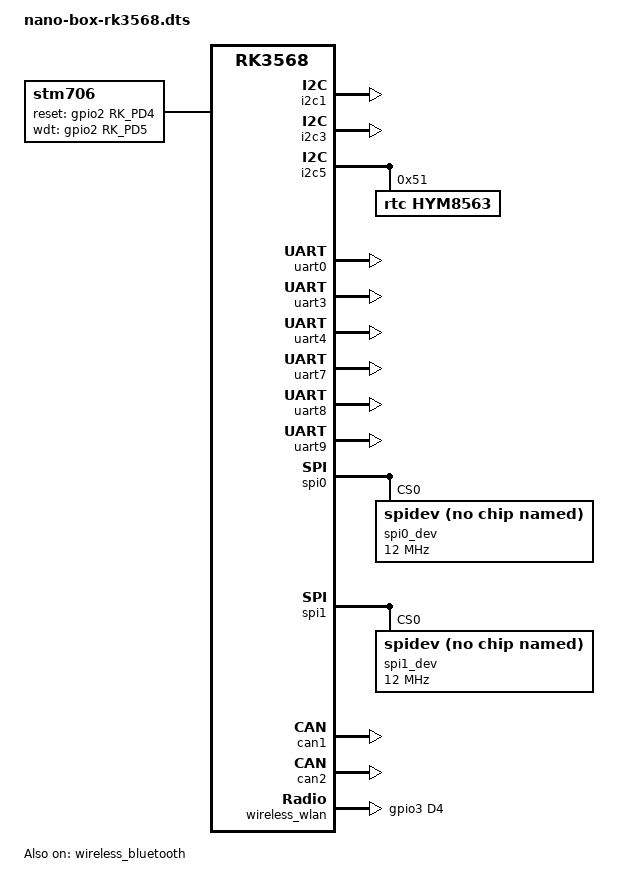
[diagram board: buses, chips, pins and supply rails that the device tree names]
// SPDX-License-Identifier: (GPL-2.0+ OR MIT)
/*
 * Copyright (c) 2020 Rockchip Electronics Co., Ltd.
 *
 */

/dts-v1/;

//rk3568-evb1-ddr4-v10
//#include "rk3568-evb1-ddr4-v10.dtsi"

#include "rk3568-evb-rpdzkj-rk809.dtsi"


#include "rk3568-linux.dtsi"

/*************************camera***********************/
//#include "rp-mipi-camera-gc2093-rk3568.dtsi"
#include "rp-mipi-camera-gc2093-imx334-imx415-rk3568.dtsi"
/***************************************************/


/*************************adc key***********************/
#include "rp-adc-key.dtsi"
/***************************************************/

/*************************gmac***********************/
#include "rp-gmac0-pro-rk3568.dtsi"
/***************************************************/

/*************************CAN**********************/
#include "rp-can1-m1-rk3568.dtsi"
#include "rp-can2-m0-rk3568.dtsi"
/**************************************************/

/***************** SINGLE LCD (LCD + HDMI) ****************/
#include "nano-box-rk3568-lcd-gpio.dtsi"	// if use lcd, must enable it
/* HDMI only */
//#include "rp-lcd-hdmi.dtsi"

/* MIPI DSI0 */
//#include "rp-lcd-mipi0-5-720-1280-v2-boxTP.dtsi"
#include "rp-lcd-mipi0-7-720-1280.dtsi"
//#include "rp-lcd-mipi0-8-800-1280-v3.dtsi"
//#include "rp-lcd-mipi0-8-1200-1920.dtsi"
//#include "rp-lcd-mipi0-10-800-1280-v3.dtsi"
//#include "rp-lcd-mipi0-10-1200-1920.dtsi"

/** LVDS */
//#include"rp-lcd-lvds-10-1280-800.dtsi"
//#include"rp-lcd-lvds-7-1024-600-v2.dtsi"

/* EDP */
//#include "rp-lcd-edp-13-1920-1080.dtsi"
//#include "rp-lcd-edp-13.3-15.6-1920-1080.dtsi"


/************************ MULTILPLE LCD *********************/
/* EDP + MIPI0/LVDS */
//#include "rp-lcd-triple-lvds-7-1024-600-edp-13-1920-1080-hdmi.dtsi"





/{

        rp_power{
                status = "okay";
                compatible = "rp_power";
                rp_not_deep_leep = <1>;

//#define GPIO_FUNCTION_OUTPUT 0
//#define GPIO_FUNCTION_INPUT 1
//#define GPIO_FUNCTION_IRQ 2
//#define GPIO_FUNCTION_FLASH 3
//#define GPIO_FUNCTION_OUTPUT_CTRL 4

                led {	//system led
                        gpio_num = <&gpio0 RK_PD6 GPIO_ACTIVE_HIGH>;
                        gpio_function = <4>;
                };
                fan {	//fan
                        gpio_num = <&gpio3 RK_PB6 GPIO_ACTIVE_HIGH>;
                        gpio_function = <4>;
                };
                usb_pwr1 {	//usb host power1
                        gpio_num = <&gpio3 RK_PA4 GPIO_ACTIVE_HIGH>;
                        gpio_function = <4>;
                };
								usb_pwr2 {       //usb host power2
                        gpio_num = <&gpio0 RK_PA6 GPIO_ACTIVE_HIGH>;
                        gpio_function = <4>;
                };

                otg_power {       //usb otg power
                        gpio_num = <&gpio0 RK_PA5 GPIO_ACTIVE_HIGH>;
                        gpio_function = <4>;
                };

                otg_mode {       //OTG SWITCH
                        gpio_num = <&gpio1 RK_PA4 GPIO_ACTIVE_LOW>;
                        gpio_function = <0>;
                };
                spk_enable {       //spk enable
                        gpio_num = <&gpio1 RK_PB1 GPIO_ACTIVE_HIGH>;
                        gpio_function = <4>;
                };
                spk_mute {       //spk mute
                        gpio_num = <&gpio1 RK_PB2 GPIO_ACTIVE_LOW>;
                        gpio_function = <4>;
                };
        };


        rp_gpio{
                status = "okay";
                compatible = "rp_gpio";

                gpio3b5 {       //gpio
                        gpio_num = <&gpio3 RK_PB5 GPIO_ACTIVE_HIGH>;
                        gpio_function = <0>;
                };
                gpio3a7 {       //gpio
                        gpio_num = <&gpio3 RK_PA7 GPIO_ACTIVE_HIGH>;
                        gpio_function = <0>;
                };
  
        };
	
        stm706 {
                status = "okay";
                compatible = "stm706";
                reset_gpio = <&gpio2 RK_PD4 GPIO_ACTIVE_HIGH>;
                wdt_gpio = <&gpio2 RK_PD5 GPIO_ACTIVE_HIGH>;
        };
};


&pmu_io_domains {
        status = "okay";
        pmuio2-supply = <&vcc3v3_pmu>;
        vccio1-supply = <&vccio_acodec>;
        vccio3-supply = <&vccio_sd>;
        vccio4-supply = <&vcc_1v8>;
        vccio5-supply = <&vcc_3v3>;
        vccio6-supply = <&vcc_1v8>;
        vccio7-supply = <&vcc_3v3>;
};

&i2c1 {
	status = "okay";
};


&i2c3 {
	status = "okay";
};


&i2c5 {
	status = "okay";
        rtc@51 {
                status = "okay";
                compatible = "rtc,hym8563";
                reg = <0x51>;
        };
};


&uart0 {
	status = "okay";
};

&uart3 {
	status = "okay";
	pinctrl-names = "default";
	pinctrl-0 = <&uart3m1_xfer>;
};

&uart4 {
	status = "okay";
	pinctrl-names = "default";
	pinctrl-0 = <&uart4m1_xfer>;
};

&uart7 {
	status = "okay";
	pinctrl-names = "default";
	pinctrl-0 = <&uart7m1_xfer>;
};

&uart8 {
	status = "okay";
	pinctrl-names = "default";
	pinctrl-0 = <&uart8m0_xfer &uart8m0_ctsn>;
};

&uart9 {
	status = "okay";
	pinctrl-names = "default";
	pinctrl-0 = <&uart9m1_xfer>;
};


&spi0 {
	status = "okay";

    spi0_dev@0 {
        compatible = "rockchip,spidev";
        reg = <0>;
        spi-max-frequency = <12000000>;
        spi-lsb-first;
    };
};

&spi1 {
	status = "okay";
	pinctrl-names = "default";
	pinctrl-0 = <&spi1m1_cs0 &spi1m1_pins>;

    spi1_dev@0 {
        compatible = "rockchip,spidev";
        reg = <0>;
        spi-max-frequency = <12000000>;
        spi-lsb-first;
    };

};



&can1 {
       assigned-clocks = <&cru CLK_CAN1>;
       assigned-clock-rates = <150000000>;
       pinctrl-names = "default";
       pinctrl-0 = <&can1m1_pins>;
       status = "okay";
};


&can2 {
        assigned-clocks = <&cru CLK_CAN2>;
        assigned-clock-rates = <150000000>;
        pinctrl-names = "default";
        pinctrl-0 = <&can2m0_pins>;
        status = "okay";
};

/******** must be close,if not system no run ******/
&dmc {
       status = "disabled";
};

&dfi {
       status = "disabled";
};


&pwm7 {
    /****** disable for gpio used to be spi0_cs0 */
    status = "disabled";
};
/****** rp3568 camera configuration adjustment ******/
&imx334{
     pwdn-gpios = <&gpio1 RK_PD4 GPIO_ACTIVE_HIGH>;
     reset-gpios = <&gpio1 RK_PD0 GPIO_ACTIVE_HIGH>;
};

&imx415{
     pwdn-gpios = <&gpio1 RK_PD4 GPIO_ACTIVE_HIGH>;
     reset-gpios = <&gpio1 RK_PD0 GPIO_ACTIVE_LOW>;
};

/*************************wifi bt***********************/
&wireless_wlan {
	pinctrl-names = "default";
	pinctrl-0 = <&wifi_host_wake_irq>;
	WIFI,host_wake_irq = <&gpio3 RK_PD4 GPIO_ACTIVE_HIGH>;
};
&wireless_bluetooth {
	BT,reset_gpio    = <&gpio4 RK_PC4 GPIO_ACTIVE_HIGH>;
	BT,wake_gpio     = <&gpio0 RK_PD5 GPIO_ACTIVE_HIGH>;
  	BT,wake_host_irq = <&gpio0 RK_PD4 GPIO_ACTIVE_HIGH>;
	status = "okay";
};

/******************************************************/


&rk_headset {
	status = "disabled";
};
&edp {
    /** delete hdp gpio that nano-box-rk3568 donot use */
    /delete-property/ hpd-gpios;
};

&pinctrl {
	wireless-wlan {
		wifi_host_wake_irq: wifi-host-wake-irq {
			rockchip,pins = <3 RK_PD4 RK_FUNC_GPIO &pcfg_pull_down>;
		};
	};

	wireless-bluetooth {
		uart8_gpios: uart8-gpios {
			rockchip,pins = <2 RK_PB1 RK_FUNC_GPIO &pcfg_pull_none>;
		};
	};
};	
